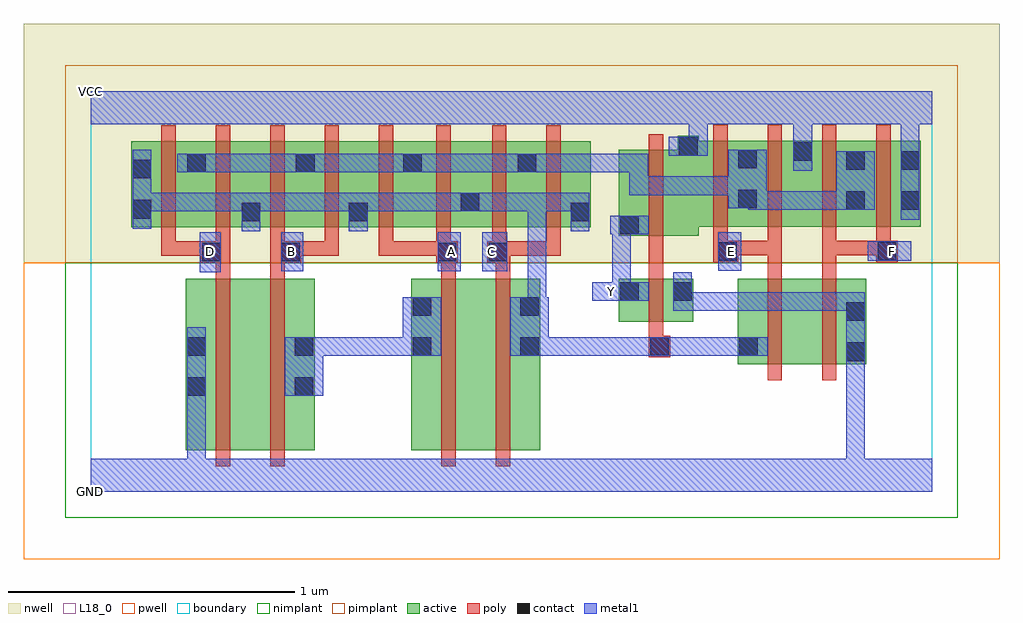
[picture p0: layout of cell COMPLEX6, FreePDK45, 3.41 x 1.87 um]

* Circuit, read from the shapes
.subckt COMPLEX6 A B C D E F GND VCC Y
M1 n1 D GND VSUBS nfet w=0.6u l=0.05u
M2 n2 B n1 VSUBS nfet w=0.6u l=0.05u
M3 n3 A n2 VSUBS nfet w=0.6u l=0.05u
M4 n4 C n3 VSUBS nfet w=0.6u l=0.05u
M5 GND n4 Y VSUBS nfet w=0.15u l=0.05u
M6 n5 E n4 VSUBS nfet w=0.3u l=0.05u
M7 GND F n5 VSUBS nfet w=0.3u l=0.05u
M8 n6 D n4 n7 pfet w=0.3u l=0.05u m=2
M9 n6 B n4 n7 pfet w=0.3u l=0.05u m=2
M10 n6 A n4 n7 pfet w=0.3u l=0.05u m=2
M11 n6 C n4 n7 pfet w=0.3u l=0.05u m=2
M12 VCC n4 Y n7 pfet w=0.3u l=0.05u
M13 n6 E VCC n7 pfet w=0.3u l=0.05u m=2
M14 n6 F VCC n7 pfet w=0.3u l=0.05u m=2
.ends

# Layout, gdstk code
import gdstk
lib = gdstk.Library(unit=1e-6, precision=1e-09)
def R(c, l, rs):  # rectangles x0, y0, x1, y1
    for r in rs: c.add(gdstk.rectangle(r[:2], r[2:], *l))
def A(c, l, x, y, w, h, nx, ny, dx, dy):  # array of equal rectangles
    R(c, l, [(x+i*dx, y+j*dy, x+i*dx+w, y+j*dy+h) for i in range(nx) for j in range(ny)])
active = (1, 0)
pwell = (2, 0)
nwell = (3, 0)
nimplant = (4, 0)
pimplant = (5, 0)
poly = (9, 0)
contact = (10, 0)
metal1 = (11, 0)
L18_0 = (18, 0)
boundary = (235, 0)

complex6 = lib.new_cell('COMPLEX6')
A(complex6, active, 0.142, 0.925, 0.265, 0.3, 3, 1, 0.19, 0)
R(complex6, active, [(0.332,0.145,0.407,0.745), (0.332,0.145,0.557,0.745), (0.557,0.145,0.782,0.745), (0.707,0.145,0.782,0.745), (1.12,0.145,1.345,0.745), (1.12,0.145,1.225,0.745), (1.345,0.145,1.57,0.745), (1.495,0.145,1.57,0.745), (2.26,0.445,2.335,0.745), (2.26,0.445,2.485,0.745), (2.485,0.445,2.71,0.745), (2.635,0.445,2.71,0.745), (1.845,0.595,1.92,0.745), (1.845,0.595,2.105,0.745), (2.03,0.595,2.105,0.745), (1.845,0.895,2.125,1.195), (1.845,0.895,1.92,1.07), (0.142,0.925,0.217,1.165), (0.712,0.925,0.972,1.225), (0.897,0.925,1.162,1.225), (1.087,0.925,1.362,1.225), (1.287,0.925,1.562,1.225), (1.487,0.925,1.747,1.225), (2.05,0.927,2.332,1.227), (2.257,0.927,2.332,1.2), (2.257,0.927,2.525,1.227), (2.45,0.927,2.525,1.227), (2.45,0.927,2.71,1.227), (2.635,0.927,2.9,1.227), (2.635,0.927,2.71,1.2), (2.825,0.927,2.9,1.227), (0.522,0.94,0.597,1.07), (0.897,0.94,0.972,1.07), (1.672,0.94,1.747,1.07), (1.287,0.975,1.362,1.07), (0.712,0.995,0.787,1.2), (1.087,0.995,1.162,1.2), (1.487,0.995,1.562,1.2), (0.332,1.002,0.407,1.2), (2.05,1.007,2.125,1.245)])
R(complex6, pwell, [(-0.235,-0.235,3.175,0.8)])
R(complex6, nwell, [(-0.235,0.8,3.175,1.635)])
R(complex6, nimplant, [(-0.09,-0.09,3.03,0.8)])
R(complex6, pimplant, [(-0.09,0.8,3.03,1.49)])
A(complex6, poly, 0.247, 0.825, 0.05, 0.095, 5, 1, 0.19, 0)
A(complex6, poly, 2.175, 0.827, 0.05, 0.095, 4, 1, 0.19, 0)
A(complex6, poly, 0.247, 0.87, 0.05, 0.41, 5, 1, 0.19, 0)
A(complex6, poly, 2.175, 0.872, 0.05, 0.41, 4, 1, 0.19, 0)
R(complex6, poly, [(0.437,0.09,0.487,0.8), (0.627,0.09,0.677,0.8), (1.225,0.09,1.275,0.8), (1.415,0.09,1.465,0.8), (2.365,0.39,2.415,0.8), (2.555,0.39,2.605,0.8), (1.95,0.47,2.025,0.545), (1.95,0.495,2,0.59), (1.95,0.54,2,0.8), (0.437,0.75,0.487,0.85), (0.627,0.75,0.677,0.85), (1.225,0.75,1.275,0.85), (1.415,0.75,1.465,0.85), (1.95,0.75,2,0.845), (2.365,0.75,2.415,0.877), (2.555,0.75,2.605,0.877), (1.95,0.795,2,0.89), (1.95,0.795,2,0.845), (1.95,0.795,2,0.845), (1.95,0.795,2,0.845), (0.385,0.8,0.487,0.875), (0.627,0.8,0.677,0.85), (0.627,0.8,0.677,0.85), (0.627,0.8,0.735,0.875), (1.207,0.8,1.282,0.875), (1.225,0.8,1.275,0.85), (1.225,0.8,1.275,0.85), (1.385,0.8,1.465,0.875), (1.415,0.8,1.465,0.85), (1.415,0.8,1.465,0.85), (2.175,0.802,2.262,0.877), (2.745,0.802,2.82,0.877), (0.247,0.825,0.487,0.875), (0.247,0.825,0.297,0.875), (0.437,0.825,0.487,0.875), (0.437,0.825,0.487,0.875), (0.437,0.825,0.487,0.875), (0.437,0.825,0.487,0.875), (0.685,0.825,0.867,0.875), (0.817,0.825,0.867,0.875), (0.817,0.825,0.867,0.875), (0.817,0.825,0.867,0.875), (1.007,0.825,1.057,0.875), (1.007,0.825,1.057,0.875), (1.007,0.825,1.057,0.875), (1.007,0.825,1.257,0.875), (1.207,0.825,1.257,0.92), (1.402,0.825,1.452,0.92), (1.415,0.825,1.64,0.875), (1.59,0.825,1.64,0.875), (1.59,0.825,1.642,0.875), (1.592,0.825,1.642,0.92), (1.592,0.825,1.642,0.875), (2.212,0.827,2.262,0.877), (2.212,0.827,2.262,0.877), (2.212,0.827,2.415,0.877), (2.365,0.827,2.415,0.877), (2.365,0.827,2.415,0.877), (2.365,0.827,2.415,0.877), (2.555,0.827,2.795,0.877), (2.555,0.827,2.605,0.877), (2.555,0.827,2.605,0.877), (2.555,0.827,2.605,0.877), (2.555,0.827,2.605,0.877), (2.555,0.827,2.605,0.877), (1.95,0.84,2,1.25), (1.207,0.87,1.257,1.28), (1.402,0.87,1.452,1.28), (1.592,0.87,1.642,1.28)])
R(complex6, contact, [(0.337,0.335,0.402,0.4), (0.712,0.335,0.777,0.4), (2.64,0.457,2.705,0.522), (0.337,0.475,0.402,0.54), (0.712,0.475,0.777,0.54), (1.125,0.475,1.19,0.54), (1.5,0.475,1.565,0.54), (1.955,0.475,2.02,0.54), (2.265,0.475,2.33,0.54), (2.64,0.597,2.705,0.662), (1.125,0.615,1.19,0.68), (1.5,0.615,1.565,0.68), (1.85,0.667,1.915,0.732), (2.035,0.667,2.1,0.732), (0.39,0.805,0.455,0.87), (0.665,0.805,0.73,0.87), (1.212,0.805,1.277,0.87), (1.39,0.805,1.455,0.87), (2.192,0.807,2.257,0.872), (2.75,0.807,2.815,0.872), (1.85,0.9,1.915,0.965), (0.527,0.945,0.592,1.01), (0.902,0.945,0.967,1.01), (1.677,0.945,1.742,1.01), (0.147,0.955,0.212,1.02), (1.292,0.98,1.357,1.045), (2.64,0.985,2.705,1.05), (2.83,0.985,2.895,1.05), (2.262,0.99,2.327,1.055), (0.147,1.095,0.212,1.16), (0.337,1.117,0.402,1.182), (0.717,1.117,0.782,1.182), (1.092,1.117,1.157,1.182), (1.492,1.117,1.557,1.182), (2.64,1.125,2.705,1.19), (2.83,1.125,2.895,1.19), (2.262,1.13,2.327,1.195), (2.455,1.157,2.52,1.222), (2.055,1.175,2.12,1.24)])
R(complex6, metal1, [(0,0,2.94,0.115), (0.337,0.05,0.402,0.365), (2.64,0.05,2.705,0.115), (2.64,0.05,2.705,0.115), (2.64,0.05,2.705,0.115), (2.64,0.05,2.705,0.115), (2.64,0.05,2.705,0.487), (0.337,0.3,0.402,0.575), (0.677,0.335,0.812,0.54), (2.64,0.422,2.705,0.697), (0.747,0.475,0.812,0.54), (0.747,0.475,0.812,0.54), (0.747,0.475,0.967,0.54), (0.902,0.475,0.967,0.54), (0.902,0.475,0.967,0.54), (0.902,0.475,0.967,0.54), (0.902,0.475,1.155,0.54), (1.09,0.475,1.225,0.68), (1.465,0.475,1.6,0.68), (1.535,0.475,1.6,0.54), (1.535,0.475,1.6,0.54), (1.535,0.475,1.742,0.54), (1.677,0.475,1.742,0.54), (1.677,0.475,1.742,0.54), (1.677,0.475,1.742,0.54), (1.677,0.475,1.742,0.54), (1.677,0.475,1.742,0.54), (1.677,0.475,1.917,0.54), (1.852,0.475,1.917,0.54), (1.852,0.475,1.985,0.54), (1.92,0.475,2.055,0.54), (1.99,0.475,2.055,0.54), (1.99,0.475,2.055,0.54), (1.99,0.475,2.225,0.54), (2.16,0.475,2.225,0.54), (2.16,0.475,2.295,0.54), (2.23,0.475,2.365,0.54), (1.527,0.615,1.592,0.68), (1.527,0.615,1.592,0.68), (1.527,0.615,1.592,0.68), (1.527,0.615,1.592,0.68), (1.527,0.615,1.592,1.045), (2.035,0.632,2.1,0.767), (2.035,0.632,2.225,0.697), (2.16,0.632,2.225,0.697), (2.16,0.632,2.362,0.697), (2.297,0.632,2.362,0.697), (2.297,0.632,2.362,0.697), (2.297,0.632,2.362,0.697), (2.297,0.632,2.532,0.697), (2.467,0.632,2.532,0.697), (2.467,0.632,2.532,0.697), (2.467,0.632,2.532,0.697), (2.467,0.632,2.705,0.697), (2.64,0.632,2.705,0.697), (2.64,0.632,2.705,0.697), (2.64,0.632,2.705,0.697), (2.64,0.632,2.705,0.697), (1.752,0.667,1.887,0.732), (1.815,0.667,1.95,0.732), (1.822,0.667,1.887,0.732), (1.822,0.667,1.887,0.732), (1.822,0.667,1.887,0.732), (1.822,0.667,1.887,0.965), (0.38,0.767,0.455,0.907), (0.665,0.77,0.742,0.907), (1.212,0.77,1.292,0.907), (1.367,0.77,1.455,0.907), (2.192,0.772,2.272,0.907), (2.715,0.807,2.867,0.875), (1.815,0.9,1.95,0.965), (0.527,0.91,0.592,1.045), (0.902,0.91,0.967,1.045), (1.677,0.91,1.742,1.045), (0.147,0.92,0.212,1.195), (2.83,0.95,2.895,1.225), (0.147,0.98,0.212,1.045), (0.147,0.98,0.212,1.045), (0.147,0.98,0.455,1.045), (0.39,0.98,0.455,1.045), (0.39,0.98,0.455,1.045), (0.39,0.98,0.455,1.045), (0.39,0.98,0.592,1.045), (0.527,0.98,0.592,1.045), (0.527,0.98,0.592,1.045), (0.527,0.98,0.83,1.045), (0.765,0.98,0.83,1.045), (0.765,0.98,0.83,1.045), (0.765,0.98,0.83,1.045), (0.765,0.98,0.967,1.045), (0.902,0.98,1.105,1.045), (0.902,0.98,0.967,1.045), (0.902,0.98,0.967,1.045), (1.04,0.98,1.105,1.045), (1.04,0.98,1.105,1.045), (1.04,0.98,1.105,1.045), (1.04,0.98,1.322,1.045), (1.257,0.98,1.392,1.045), (1.327,0.98,1.392,1.045), (1.327,0.98,1.392,1.045), (1.327,0.98,1.592,1.045), (1.527,0.98,1.592,1.045), (1.527,0.98,1.592,1.045), (1.527,0.98,1.592,1.045), (1.527,0.98,1.742,1.045), (2.297,0.985,2.532,1.05), (2.297,0.985,2.362,1.055), (2.467,0.985,2.67,1.05), (2.467,0.985,2.532,1.05), (2.467,0.985,2.532,1.05), (2.467,0.985,2.532,1.05), (2.605,0.985,2.74,1.19), (2.227,0.99,2.362,1.195), (2.297,0.99,2.362,1.055), (1.882,1.037,2.087,1.102), (1.882,1.037,1.947,1.182), (2.022,1.037,2.225,1.102), (2.022,1.037,2.087,1.102), (2.022,1.037,2.087,1.102), (2.022,1.037,2.087,1.102), (2.16,1.037,2.225,1.102), (2.16,1.037,2.292,1.102), (0.302,1.117,0.437,1.182), (0.372,1.117,0.437,1.182), (0.372,1.117,0.437,1.182), (0.372,1.117,0.605,1.182), (0.54,1.117,0.605,1.182), (0.54,1.117,0.605,1.182), (0.54,1.117,0.605,1.182), (0.54,1.117,0.747,1.182), (0.682,1.117,0.817,1.182), (0.752,1.117,0.817,1.182), (0.752,1.117,0.817,1.182), (0.752,1.117,0.967,1.182), (0.902,1.117,0.967,1.182), (0.902,1.117,0.967,1.182), (0.902,1.117,0.967,1.182), (0.902,1.117,1.122,1.182), (1.057,1.117,1.192,1.182), (1.127,1.117,1.192,1.182), (1.127,1.117,1.192,1.182), (1.127,1.117,1.385,1.182), (1.32,1.117,1.385,1.182), (1.32,1.117,1.385,1.182), (1.32,1.117,1.385,1.182), (1.32,1.117,1.522,1.182), (1.457,1.117,1.592,1.182), (1.527,1.117,1.592,1.182), (1.527,1.117,1.592,1.182), (1.527,1.117,1.737,1.182), (1.672,1.117,1.737,1.182), (1.672,1.117,1.737,1.182), (1.672,1.117,1.737,1.182), (1.672,1.117,1.947,1.182), (2.455,1.122,2.52,1.257), (2.83,1.16,2.895,1.35), (2.02,1.175,2.155,1.24), (2.09,1.175,2.155,1.35), (2.455,1.192,2.52,1.35), (0,1.285,2.94,1.4)])
R(complex6, L18_0, [(0,0,2.94,0.115), (0.337,0.05,0.402,0.365), (2.64,0.05,2.705,0.115), (2.64,0.05,2.705,0.115), (2.64,0.05,2.705,0.115), (2.64,0.05,2.705,0.115), (2.64,0.05,2.705,0.487), (0.337,0.3,0.402,0.575), (2.64,0.422,2.705,0.697), (2.035,0.632,2.1,0.767), (2.035,0.632,2.225,0.697), (2.16,0.632,2.225,0.697), (2.16,0.632,2.362,0.697), (2.297,0.632,2.362,0.697), (2.297,0.632,2.362,0.697), (2.297,0.632,2.362,0.697), (2.297,0.632,2.532,0.697), (2.467,0.632,2.532,0.697), (2.467,0.632,2.532,0.697), (2.467,0.632,2.532,0.697), (2.467,0.632,2.705,0.697), (2.64,0.632,2.705,0.697), (2.64,0.632,2.705,0.697), (2.64,0.632,2.705,0.697), (2.64,0.632,2.705,0.697), (1.752,0.667,1.887,0.732), (1.787,0.667,1.852,0.732), (1.815,0.667,1.95,0.732), (1.822,0.667,1.887,0.732), (1.822,0.667,1.887,0.732), (1.822,0.667,1.887,0.732), (1.822,0.667,1.887,0.965), (0.38,0.767,0.455,0.907), (0.665,0.77,0.742,0.907), (1.212,0.77,1.292,0.907), (1.367,0.77,1.455,0.907), (2.192,0.772,2.272,0.907), (0.387,0.807,0.452,0.872), (0.667,0.807,0.732,0.872), (1.227,0.807,1.292,0.872), (1.367,0.807,1.432,0.872), (2.207,0.807,2.272,0.872), (2.715,0.807,2.867,0.875), (2.767,0.807,2.832,0.872), (1.815,0.9,1.95,0.965), (2.83,0.95,2.895,1.225), (2.455,1.122,2.52,1.257), (2.83,1.16,2.895,1.35), (2.02,1.175,2.155,1.24), (2.09,1.175,2.155,1.35), (2.455,1.192,2.52,1.35), (0,1.285,2.94,1.4)])
R(complex6, boundary, [(0,0,2.94,1.4)])
complex6.add(gdstk.Label('A', (1.26,0.84), layer=11, texttype=0))
complex6.add(gdstk.Label('B', (0.7,0.84), layer=11, texttype=0))
complex6.add(gdstk.Label('C', (1.4,0.84), layer=11, texttype=0))
complex6.add(gdstk.Label('D', (0.42,0.84), layer=11, texttype=0))
complex6.add(gdstk.Label('E', (2.24,0.84), layer=11, texttype=0))
complex6.add(gdstk.Label('F', (2.8,0.84), layer=11, texttype=0))
complex6.add(gdstk.Label('Y', (1.82,0.7), layer=11, texttype=0))
complex6.add(gdstk.Label('VCC', (0,1.4), layer=11, texttype=0))
complex6.add(gdstk.Label('GND', (0,0), layer=11, texttype=0))

lib.write_gds('COMPLEX6.gds')
